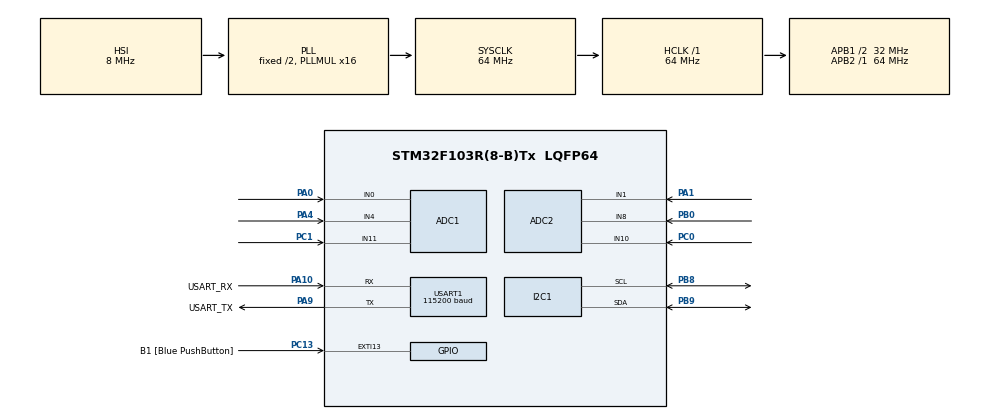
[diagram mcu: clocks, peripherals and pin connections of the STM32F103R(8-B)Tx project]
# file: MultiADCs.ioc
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ADC1.Channel-0\#ChannelRegularConversion=ADC_CHANNEL_0
ADC1.Channel-1\#ChannelRegularConversion=ADC_CHANNEL_4
ADC1.Channel-2\#ChannelRegularConversion=ADC_CHANNEL_11
ADC1.ContinuousConvMode=ENABLE
ADC1.EnableInjectedConversion=DISABLE
ADC1.Mode=ADC_DUALMODE_REGSIMULT
ADC1.NbrOfConversion=3
ADC1.NbrOfConversionFlag=1
ADC1.Rank-0\#ChannelRegularConversion=1
ADC1.Rank-1\#ChannelRegularConversion=2
ADC1.Rank-2\#ChannelRegularConversion=3
ADC1.SamplingTime-0\#ChannelRegularConversion=ADC_SAMPLETIME_239CYCLES_5
ADC1.SamplingTime-1\#ChannelRegularConversion=ADC_SAMPLETIME_239CYCLES_5
ADC1.SamplingTime-2\#ChannelRegularConversion=ADC_SAMPLETIME_239CYCLES_5
ADC1.master=1
ADC2.Channel-1\#ChannelRegularConversion=ADC_CHANNEL_1
ADC2.Channel-2\#ChannelRegularConversion=ADC_CHANNEL_8
ADC2.Channel-5\#ChannelRegularConversion=ADC_CHANNEL_10
ADC2.ContinuousConvMode=ENABLE
ADC2.EnableInjectedConversion=DISABLE
ADC2.InjNumberOfConversion=2
ADC2.Mode=ADC_DUALMODE_REGSIMULT
ADC2.NbrOfConversion=3
ADC2.NbrOfConversionFlag=1
ADC2.Rank-1\#ChannelRegularConversion=1
ADC2.Rank-2\#ChannelRegularConversion=2
ADC2.Rank-5\#ChannelRegularConversion=3
ADC2.SamplingTime-1\#ChannelRegularConversion=ADC_SAMPLETIME_239CYCLES_5
ADC2.SamplingTime-2\#ChannelRegularConversion=ADC_SAMPLETIME_239CYCLES_5
ADC2.SamplingTime-5\#ChannelRegularConversion=ADC_SAMPLETIME_239CYCLES_5
Dma.ADC1.0.Direction=DMA_PERIPH_TO_MEMORY
Dma.ADC1.0.Instance=DMA1_Channel1
Dma.ADC1.0.MemDataAlignment=DMA_MDATAALIGN_WORD
Dma.ADC1.0.MemInc=DMA_MINC_ENABLE
Dma.ADC1.0.Mode=DMA_CIRCULAR
Dma.ADC1.0.PeriphDataAlignment=DMA_PDATAALIGN_WORD
Dma.ADC1.0.PeriphInc=DMA_PINC_DISABLE
Dma.ADC1.0.Priority=DMA_PRIORITY_LOW
Dma.Request0=ADC1
Dma.Request1=USART1_RX
Dma.USART1_RX.1.Direction=DMA_PERIPH_TO_MEMORY
Dma.USART1_RX.1.Instance=DMA1_Channel5
Dma.USART1_RX.1.MemDataAlignment=DMA_MDATAALIGN_BYTE
Dma.USART1_RX.1.MemInc=DMA_MINC_ENABLE
Dma.USART1_RX.1.Mode=DMA_NORMAL
Dma.USART1_RX.1.PeriphDataAlignment=DMA_PDATAALIGN_BYTE
Dma.USART1_RX.1.PeriphInc=DMA_PINC_DISABLE
Dma.USART1_RX.1.Priority=DMA_PRIORITY_LOW
Mcu.Family=STM32F1
Mcu.Name=STM32F103R(8-B)Tx
Mcu.Package=LQFP64
NVIC.ADC1_2_IRQn=true\:0\:0\:false\:false\:true\:true\:true\:true
NVIC.DMA1_Channel1_IRQn=true\:0\:0\:false\:false\:true\:false\:true\:true
NVIC.DMA1_Channel5_IRQn=true\:0\:0\:false\:true\:true\:1\:false\:true\:true
NVIC.EXTI15_10_IRQn=true\:0\:0\:false\:false\:true\:true\:true\:true
NVIC.PriorityGroup=NVIC_PRIORITYGROUP_4
NVIC.USART1_IRQn=true\:0\:0\:false\:true\:true\:2\:true\:true\:true
PA0-WKUP.Signal=ADCx_IN0
PA1.Signal=ADCx_IN1
PA10.GPIO_Label=USART_RX
PA10.Mode=Asynchronous
PA10.Signal=USART1_RX
PA13.GPIO_Label=TMS
PA13.Mode=Serial_Wire
PA13.Signal=SYS_JTMS-SWDIO
PA14.GPIO_Label=TCK
PA14.Mode=Serial_Wire
PA14.Signal=SYS_JTCK-SWCLK
PA2.GPIO_Label=USART_TX
PA2.GPIO_Mode=GPIO_MODE_AF_PP
PA2.GPIO_PuPd=GPIO_NOPULL
PA2.GPIO_Speed=GPIO_SPEED_FREQ_HIGH
PA2.Signal=USART2_TX
PA3.GPIO_Label=USART_RX
PA3.GPIO_Mode=GPIO_MODE_INPUT
PA3.GPIO_PuPd=GPIO_NOPULL
PA3.GPIO_Speed=GPIO_SPEED_FREQ_LOW
PA3.Signal=USART2_RX
PA4.Signal=ADCx_IN4
PA9.GPIO_Label=USART_TX
PA9.Mode=Asynchronous
PA9.Signal=USART1_TX
PB0.Signal=ADCx_IN8
PB3.GPIO_Label=SWO
PB3.Signal=SYS_JTDO-TRACESWO
PB8.Mode=I2C
PB8.Signal=I2C1_SCL
PB9.Mode=I2C
PB9.Signal=I2C1_SDA
PC0.Signal=ADCx_IN10
PC1.Signal=ADCx_IN11
PC13-TAMPER-RTC.GPIO_Label=B1 [Blue PushButton]
PC13-TAMPER-RTC.GPIO_PuPd=GPIO_NOPULL
PC13-TAMPER-RTC.Signal=GPXTI13
PC14-OSC32_IN.Mode=LSE-External-Oscillator
PC14-OSC32_IN.Signal=RCC_OSC32_IN
PC15-OSC32_OUT.Mode=LSE-External-Oscillator
PC15-OSC32_OUT.Signal=RCC_OSC32_OUT
PD0-OSC_IN.Mode=HSE-External-Clock-Source
PD0-OSC_IN.Signal=RCC_OSC_IN
PD1-OSC_OUT.Mode=HSE-External-Clock-Source
PD1-OSC_OUT.Signal=RCC_OSC_OUT
ProjectManager.HeapSize=0x200
ProjectManager.StackSize=0x400
ProjectManager.TargetToolchain=STM32CubeIDE
RCC.ADCPresc=RCC_ADCPCLK2_DIV8
RCC.AHBFreq_Value=64000000
RCC.APB1CLKDivider=RCC_HCLK_DIV2
RCC.APB1Freq_Value=32000000
RCC.APB1TimFreq_Value=64000000
RCC.APB2Freq_Value=64000000
RCC.APB2TimFreq_Value=64000000
RCC.HCLKFreq_Value=64000000
RCC.PLLMUL=RCC_PLL_MUL16
RCC.RTCClockSelection=RCC_RTCCLKSOURCE_LSE
RCC.SYSCLKFreq_VALUE=64000000
RCC.SYSCLKSource=RCC_SYSCLKSOURCE_PLLCLK
RCC.USBFreq_Value=64000000
SH.ADCx_IN0.0=ADC1_IN0,IN0
SH.ADCx_IN1.0=ADC2_IN1,IN1
SH.ADCx_IN10.0=ADC1_IN10
SH.ADCx_IN10.1=ADC2_IN10,IN10
SH.ADCx_IN11.0=ADC2_IN11
SH.ADCx_IN11.1=ADC1_IN11,IN11
SH.ADCx_IN4.0=ADC1_IN4,IN4
SH.ADCx_IN8.0=ADC2_IN8,IN8
USART1.BaudRate=115200
USART1.VirtualMode=VM_ASYNC
board=NUCLEO-F103RB

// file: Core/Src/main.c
/* USER CODE BEGIN Header */
/**
  ******************************************************************************
  * @file           : main.c
  * @brief          : Main program body
  ******************************************************************************
  * @attention
  *
  * Copyright (c) 2022 STMicroelectronics.
  * All rights reserved.
  *
  * This software is licensed under terms that can be found in the LICENSE file
  * in the root directory of this software component.
  * If no LICENSE file comes with this software, it is provided AS-IS.
  *
  ******************************************************************************
  */
/* USER CODE END Header */
#include "main.h"
#include "adc.h"
#include "dma.h"
#include "i2c.h"
#include "usart.h"
#include "gpio.h"

/* USER CODE BEGIN Includes */
#include <math.h>
#include <stdio.h>
#include <stdlib.h>
#include "smart_common.h"
#include "power_params.h"
#include "logic.h"
/* USER CODE END Includes */

void SystemClock_Config(void);
static void MX_NVIC_Init(void);

int main(void)
{
  /* USER CODE BEGIN 1 */
	Params* param;
  /* USER CODE END 1 */

  /* MCU Configuration--------------------------------------------------------*/

  /* Reset of all peripherals, Initializes the Flash interface and the Systick. */
  HAL_Init();

  /* USER CODE BEGIN Init */

  uint32_t lastGetTick;
  /* USER CODE END Init */

  /* Configure the system clock */
  SystemClock_Config();

  /* USER CODE BEGIN SysInit */
  powerParamInit();
  /* USER CODE END SysInit */

  /* Initialize all configured peripherals */
  MX_GPIO_Init();
  MX_DMA_Init();
  MX_ADC1_Init();
  MX_ADC2_Init();
  MX_I2C1_Init();
  MX_USART1_UART_Init();

  /* Initialize interrupts */
  MX_NVIC_Init();
  /* USER CODE BEGIN 2 */
  ADC_Start();
  UART_Start();
  HAL_Delay(1500);
  CalibrateZero();
  CalcRMScorection();
  //searchCompensators();
  param = (Params*)malloc(sizeof(Params));
  searchCompensators();
  /* USER CODE END 2 */

  /* Infinite loop */
  while (1)
  {

    /* USER CODE BEGIN 3 */
	  if(HAL_GPIO_ReadPin(B1_GPIO_Port, B1_Pin) == GPIO_PIN_RESET)
	  {

	  }

	  handleRecivedData();

	  if((HAL_GetTick()-lastGetTick)>=SHOWDATAPERIOD)
	  {
		  getParams(param,0);
		  printf("@1#%.2f;%.2f;%.2f;%.2f;%.2f;%.2f\n",param->V ,param->I, param->P, param->Q, param->S,param->S > 20 ? param->fi : 0.0f);
		  compensate(param->Q);
		  lastGetTick=HAL_GetTick();
	  }
  }
  free(param);
  /* USER CODE END 3 */
}

void SystemClock_Config(void)
{
  RCC_OscInitTypeDef RCC_OscInitStruct = {0};
  RCC_ClkInitTypeDef RCC_ClkInitStruct = {0};
  RCC_PeriphCLKInitTypeDef PeriphClkInit = {0};

  /** Initializes the RCC Oscillators according to the specified parameters
  * in the RCC_OscInitTypeDef structure.
  */
  RCC_OscInitStruct.OscillatorType = RCC_OSCILLATORTYPE_HSI;
  RCC_OscInitStruct.HSIState = RCC_HSI_ON;
  RCC_OscInitStruct.HSICalibrationValue = RCC_HSICALIBRATION_DEFAULT;
  RCC_OscInitStruct.PLL.PLLState = RCC_PLL_ON;
  RCC_OscInitStruct.PLL.PLLSource = RCC_PLLSOURCE_HSI_DIV2;
  RCC_OscInitStruct.PLL.PLLMUL = RCC_PLL_MUL16;
  if (HAL_RCC_OscConfig(&RCC_OscInitStruct) != HAL_OK)
  {
    Error_Handler();
  }

  /** Initializes the CPU, AHB and APB buses clocks
  */
  RCC_ClkInitStruct.ClockType = RCC_CLOCKTYPE_HCLK|RCC_CLOCKTYPE_SYSCLK
                              |RCC_CLOCKTYPE_PCLK1|RCC_CLOCKTYPE_PCLK2;
  RCC_ClkInitStruct.SYSCLKSource = RCC_SYSCLKSOURCE_PLLCLK;
  RCC_ClkInitStruct.AHBCLKDivider = RCC_SYSCLK_DIV1;
  RCC_ClkInitStruct.APB1CLKDivider = RCC_HCLK_DIV2;
  RCC_ClkInitStruct.APB2CLKDivider = RCC_HCLK_DIV1;

  if (HAL_RCC_ClockConfig(&RCC_ClkInitStruct, FLASH_LATENCY_2) != HAL_OK)
  {
    Error_Handler();
  }
  PeriphClkInit.PeriphClockSelection = RCC_PERIPHCLK_ADC;
  PeriphClkInit.AdcClockSelection = RCC_ADCPCLK2_DIV8;
  if (HAL_RCCEx_PeriphCLKConfig(&PeriphClkInit) != HAL_OK)
  {
    Error_Handler();
  }
}

/**
  * @brief NVIC Configuration.
  * @retval None
  */
static void MX_NVIC_Init(void)
{
  /* DMA1_Channel5_IRQn interrupt configuration */
  HAL_NVIC_SetPriority(DMA1_Channel5_IRQn, 0, 0);
  HAL_NVIC_EnableIRQ(DMA1_Channel5_IRQn);
  /* USART1_IRQn interrupt configuration */
  HAL_NVIC_SetPriority(USART1_IRQn, 0, 0);
  HAL_NVIC_EnableIRQ(USART1_IRQn);
}

void Error_Handler(void)
{
  __disable_irq();
  while (1)
  {
  }
}
